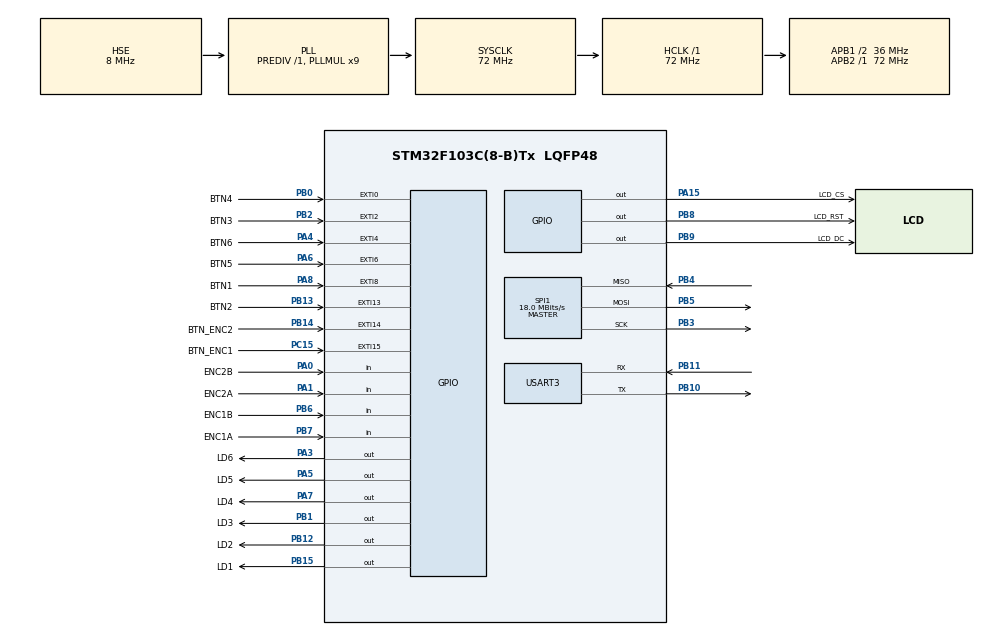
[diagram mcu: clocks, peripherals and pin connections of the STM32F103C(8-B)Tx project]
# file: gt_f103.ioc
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Dma.Request0=USART3_RX
Dma.USART3_RX.0.Direction=DMA_PERIPH_TO_MEMORY
Dma.USART3_RX.0.Instance=DMA1_Channel3
Dma.USART3_RX.0.MemDataAlignment=DMA_MDATAALIGN_BYTE
Dma.USART3_RX.0.MemInc=DMA_MINC_ENABLE
Dma.USART3_RX.0.Mode=DMA_CIRCULAR
Dma.USART3_RX.0.PeriphDataAlignment=DMA_PDATAALIGN_BYTE
Dma.USART3_RX.0.PeriphInc=DMA_PINC_DISABLE
Dma.USART3_RX.0.Priority=DMA_PRIORITY_LOW
Mcu.Family=STM32F1
Mcu.Name=STM32F103C(8-B)Tx
Mcu.Package=LQFP48
NVIC.DMA1_Channel3_IRQn=true\:0\:0\:false\:false\:true\:false\:true\:true
NVIC.EXTI0_IRQn=true\:0\:0\:false\:false\:true\:true\:true\:true
NVIC.EXTI15_10_IRQn=true\:0\:0\:false\:false\:true\:true\:true\:true
NVIC.EXTI2_IRQn=true\:0\:0\:false\:false\:true\:true\:true\:true
NVIC.EXTI4_IRQn=true\:0\:0\:false\:false\:true\:true\:true\:true
NVIC.EXTI9_5_IRQn=true\:0\:0\:false\:false\:true\:true\:true\:true
NVIC.PriorityGroup=NVIC_PRIORITYGROUP_4
NVIC.TIM2_IRQn=true\:0\:0\:false\:false\:true\:true\:true\:true
NVIC.TIM3_IRQn=true\:0\:0\:false\:false\:true\:true\:true\:true
PA0-WKUP.GPIO_Label=ENC2B
PA0-WKUP.Signal=GPIO_Input
PA1.GPIO_Label=ENC2A
PA1.Signal=GPIO_Input
PA13.Mode=Serial_Wire
PA13.Signal=SYS_JTMS-SWDIO
PA14.Mode=Serial_Wire
PA14.Signal=SYS_JTCK-SWCLK
PA15.GPIO_Label=LCD_CS
PA15.Signal=GPIO_Output
PA3.GPIO_Label=LD6
PA3.Signal=GPIO_Output
PA4.GPIO_Label=BTN6
PA4.GPIO_ModeDefaultEXTI=GPIO_MODE_IT_FALLING
PA4.Signal=GPXTI4
PA5.GPIO_Label=LD5
PA5.Signal=GPIO_Output
PA6.GPIO_Label=BTN5
PA6.GPIO_ModeDefaultEXTI=GPIO_MODE_IT_FALLING
PA6.Signal=GPXTI6
PA7.GPIO_Label=LD4
PA7.Signal=GPIO_Output
PA8.GPIO_Label=BTN1
PA8.GPIO_ModeDefaultEXTI=GPIO_MODE_IT_FALLING
PA8.Signal=GPXTI8
PB0.GPIO_Label=BTN4
PB0.GPIO_ModeDefaultEXTI=GPIO_MODE_IT_FALLING
PB0.Signal=GPXTI0
PB1.GPIO_Label=LD3
PB1.Signal=GPIO_Output
PB10.Mode=Asynchronous
PB10.Signal=USART3_TX
PB11.Mode=Asynchronous
PB11.Signal=USART3_RX
PB12.GPIO_Label=LD2
PB12.Signal=GPIO_Output
PB13.GPIO_Label=BTN2
PB13.GPIO_ModeDefaultEXTI=GPIO_MODE_IT_FALLING
PB13.Signal=GPXTI13
PB14.GPIO_Label=BTN_ENC2
PB14.GPIO_ModeDefaultEXTI=GPIO_MODE_IT_FALLING
PB14.Signal=GPXTI14
PB15.GPIO_Label=LD1
PB15.Signal=GPIO_Output
PB2.GPIO_Label=BTN3
PB2.GPIO_ModeDefaultEXTI=GPIO_MODE_IT_FALLING
PB2.Signal=GPXTI2
PB3.Mode=Full_Duplex_Master
PB3.Signal=SPI1_SCK
PB4.Mode=Full_Duplex_Master
PB4.Signal=SPI1_MISO
PB5.Mode=Full_Duplex_Master
PB5.Signal=SPI1_MOSI
PB6.GPIO_Label=ENC1B
PB6.Signal=GPIO_Input
PB7.GPIO_Label=ENC1A
PB7.Signal=GPIO_Input
PB8.GPIO_Label=LCD_RST
PB8.Signal=GPIO_Output
PB9.GPIO_Label=LCD_DC
PB9.Signal=GPIO_Output
PC15-OSC32_OUT.GPIO_Label=BTN_ENC1
PC15-OSC32_OUT.GPIO_ModeDefaultEXTI=GPIO_MODE_IT_FALLING
PC15-OSC32_OUT.Signal=GPXTI15
PD0-OSC_IN.Mode=HSE-External-Oscillator
PD0-OSC_IN.Signal=RCC_OSC_IN
PD1-OSC_OUT.Mode=HSE-External-Oscillator
PD1-OSC_OUT.Signal=RCC_OSC_OUT
ProjectManager.HeapSize=0x200
ProjectManager.StackSize=0x400
ProjectManager.TargetToolchain=STM32CubeIDE
RCC.AHBFreq_Value=72000000
RCC.APB1CLKDivider=RCC_HCLK_DIV2
RCC.APB1Freq_Value=36000000
RCC.APB1TimFreq_Value=72000000
RCC.APB2Freq_Value=72000000
RCC.APB2TimFreq_Value=72000000
RCC.HCLKFreq_Value=72000000
RCC.PLLMUL=RCC_PLL_MUL9
RCC.PLLSourceVirtual=RCC_PLLSOURCE_HSE
RCC.SYSCLKFreq_VALUE=72000000
RCC.SYSCLKSource=RCC_SYSCLKSOURCE_PLLCLK
RCC.USBFreq_Value=72000000
SPI1.BaudRatePrescaler=SPI_BAUDRATEPRESCALER_4
SPI1.CalculateBaudRate=18.0 MBits/s
SPI1.Direction=SPI_DIRECTION_2LINES
SPI1.Mode=SPI_MODE_MASTER
SPI1.VirtualType=VM_MASTER
TIM2.Period=10000-1
TIM2.Prescaler=72
TIM3.Period=10000-1
TIM3.Prescaler=72
USART3.VirtualMode=VM_ASYNC
VP_TIM2_VS_ClockSourceINT.Mode=Internal
VP_TIM3_VS_ClockSourceINT.Mode=Internal
board=custom

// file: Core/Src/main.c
/* USER CODE BEGIN Header */
/**
 ******************************************************************************
 * @file           : main.c
 * @brief          : Main program body
 ******************************************************************************
 * @attention
 *
 * Copyright (c) 2022 STMicroelectronics.
 * All rights reserved.
 *
 * This software is licensed under terms that can be found in the LICENSE file
 * in the root directory of this software component.
 * If no LICENSE file comes with this software, it is provided AS-IS.
 *
 ******************************************************************************
 */
/* USER CODE END Header */
#include "main.h"

/* USER CODE BEGIN Includes */
#include "ili9341.h"
#include "commander.h"
#include "lcd_painter.h"
#include "rencoder.h"
#include "menu.h"
#include <string.h>
#include <stdio.h>
#include <math.h>

/* USER CODE END Includes */

/* USER CODE BEGIN PM */

#define MIN(X, Y)  ((X) < (Y) ? (X) : (Y))
#define MAX(X, Y)  ((X) > (Y) ? (X) : (Y))

/* USER CODE END PM */

SPI_HandleTypeDef hspi1;

TIM_HandleTypeDef htim2;
TIM_HandleTypeDef htim3;

UART_HandleTypeDef huart3;
DMA_HandleTypeDef hdma_usart3_rx;

/* USER CODE BEGIN PV */

Commander_HandleTypeDef hcommander;

Menu_Data menu_data;

uint16_t btn_pins[8] = { BTN1_Pin, BTN2_Pin, BTN3_Pin, BTN4_Pin, BTN5_Pin, BTN6_Pin, BTN_ENC1_Pin, BTN_ENC2_Pin };
GPIO_TypeDef * btn_ports[8] = { BTN1_GPIO_Port, BTN2_GPIO_Port, BTN3_GPIO_Port, BTN4_GPIO_Port, BTN5_GPIO_Port, BTN6_GPIO_Port, BTN_ENC1_GPIO_Port, BTN_ENC2_GPIO_Port };
uint8_t btn_flags[8] = {0, 0, 0, 0, 0, 0, 0, 0};

uint16_t led_pins[6] = { LD1_Pin, LD2_Pin, LD3_Pin, LD4_Pin, LD5_Pin, LD6_Pin };
GPIO_TypeDef * led_ports[6] = { LD1_GPIO_Port, LD2_GPIO_Port, LD3_GPIO_Port, LD4_GPIO_Port, LD5_GPIO_Port, LD6_GPIO_Port };

RE_HandleTypeDef hre1;
RE_HandleTypeDef hre2;

#define EPD_WAIT 3000

/* USER CODE END PV */

void SystemClock_Config(void);
static void MX_GPIO_Init(void);
static void MX_DMA_Init(void);
static void MX_USART3_UART_Init(void);
static void MX_SPI1_Init(void);
static void MX_TIM3_Init(void);
static void MX_TIM2_Init(void);

/* USER CODE BEGIN 0 */

void HAL_GPIO_EXTI_Callback(uint16_t GPIO_Pin)
{
	HAL_TIM_Base_Start_IT(&htim2);
	//for (uint8_t i = 0; i < 8; i++) {
	//	if(btn_pins[i] == GPIO_Pin) {
	//		btn_flags[i] = 1;
	//	}
	//}
}

void HAL_TIM_PeriodElapsedCallback(TIM_HandleTypeDef *htim)
{
	if (htim == &htim2) {

		for (uint8_t i = 0; i < 8; i++) {
			if(HAL_GPIO_ReadPin(btn_ports[i], btn_pins[i]) == GPIO_PIN_RESET) {
				btn_flags[i] = 1;
			}
		}
		HAL_TIM_Base_Stop_IT(&htim2);

	} else if (htim == &htim3) {

		RE_Process(&hre1);
		RE_Process(&hre2);
	}
}

void HAL_UART_RxHalfCpltCallback(UART_HandleTypeDef *huart)
{
	UNUSED(huart);
	memcpy(&(hcommander.in_command), hcommander.uart_rx_buffer, COMMAND_BYTESIZE);
	hcommander.awaiting_response = 0;
}

void HAL_UART_RxCpltCallback(UART_HandleTypeDef *huart)
{
	UNUSED(huart);
	memcpy(&(hcommander.in_command), hcommander.uart_rx_buffer + COMMAND_BYTESIZE, COMMAND_BYTESIZE);
	hcommander.awaiting_response = 0;
}

void command_callback() {
	// do nothing, F103 is not supposed to answer
	for (uint8_t i = 0; i < 6; i++)
	HAL_GPIO_WritePin(led_ports[i], led_pins[i], GPIO_PIN_SET);
	HAL_Delay(500);
}

/* USER CODE END 0 */

int main(void)
{

  /* MCU Configuration--------------------------------------------------------*/

  /* Reset of all peripherals, Initializes the Flash interface and the Systick. */
  HAL_Init();

  /* Configure the system clock */
  SystemClock_Config();

  /* Initialize all configured peripherals */
  MX_GPIO_Init();
  MX_DMA_Init();
  MX_USART3_UART_Init();
  MX_SPI1_Init();
  MX_TIM3_Init();
  MX_TIM2_Init();
  /* USER CODE BEGIN 2 */

	// Turning on all LEDs
	for (uint8_t i = 0; i < 6; i++)
		HAL_GPIO_WritePin(led_ports[i], led_pins[i], GPIO_PIN_SET);

	// Commander
	Commander_Init(&hcommander, &huart3, &hdma_usart3_rx, command_callback);
	Commander_Start(&hcommander);

	// Rotary encoders
	RE_Init(&hre1, ENC1A_GPIO_Port, ENC1B_GPIO_Port, ENC1A_Pin, ENC1B_Pin);
	RE_Init(&hre2, ENC2A_GPIO_Port, ENC2B_GPIO_Port, ENC2A_Pin, ENC2B_Pin);
	HAL_TIM_Base_Start_IT(&htim3);

	// Display and splash screen

	ILI9341_Init(&hspi1, LCD_CS_GPIO_Port, LCD_CS_Pin, LCD_DC_GPIO_Port, LCD_DC_Pin, LCD_RST_GPIO_Port, LCD_RST_Pin);
	ILI9341_setRotation(4);
	ILI9341_Fill(COLOR_WHITE);

	LCD_Painter_DrawText("G33KY TOAD", (320 - 10 * 12) / 2, 48, COLOR_BLACK, COLOR_WHITE, LARGE);
	LCD_Painter_DrawText("@", (320 - 1 * 18) / 2, 78, COLOR_BLACK, COLOR_WHITE, LARGE);
	LCD_Painter_DrawText("BY GIACOMO ASCARI", (320 - 17 * 10) / 2, 108, COLOR_BLACK, COLOR_WHITE, MEDIUM);
	LCD_Painter_DrawText("AND EVGENY DEMENEV", (320 - 18 * 10) / 2, 124, COLOR_BLACK, COLOR_WHITE, MEDIUM);

	// Now ready
	HAL_Delay(1000);
	//LCD_Painter_EraseText(40, 0, 48, COLOR_WHITE, LARGE);
	//LCD_Painter_EraseText(40, 0, 78, COLOR_WHITE, LARGE);
	//LCD_Painter_EraseText(40, 0, 108, COLOR_WHITE, MEDIUM);
	//LCD_Painter_EraseText(40, 0, 124, COLOR_WHITE, MEDIUM);

	// Menu
	enum Menu_PageType new_page;
	Menu_Init(&menu_data, &hcommander);
	Menu_Sync(&menu_data, GET_PB);
	Menu_Sync(&menu_data, GET_LINES);
	Menu_Sync(&menu_data, GET_DRUMS);

	//Menu_Sync(&menu_data, GET_LOAD);

	Menu_GoTo(&menu_data, OVERVIEW, 1);
	Menu_Render(&menu_data);

	// Turning off
		for (uint8_t i = 0; i < 6; i++)
			HAL_GPIO_WritePin(led_ports[i], led_pins[i], GPIO_PIN_RESET);

  /* USER CODE END 2 */

  /* Infinite loop */
	while (1)
	{

    /* USER CODE BEGIN 3 */

		// assume new_page will be the same as the current one
		new_page = menu_data.page;
		// change in case the buttons did the thing
		for (uint8_t i = 0; i < 6; i++) {
			if (btn_flags[i]) {
				btn_flags[i] = 0;
				new_page = i;
			}
		}

		// change page
		if (Menu_GoTo(&menu_data, new_page, 0)) {
			// if page did change, reset interface
			RE_Reset(&hre1);
			RE_Reset(&hre2);
			btn_flags[6] = 0;
			btn_flags[7] = 0;
			// PAGE CHANGE EVENT (one time)
			if (menu_data.page == OVERVIEW) {
				Menu_Sync(&menu_data, GET_PB);
				Menu_Sync(&menu_data, GET_LINES);
				Menu_Sync(&menu_data, GET_DRUMS);
			} else if (menu_data.page == PLOT) {
				// nothin'
			} else if (menu_data.page == PEDALS) {
				Menu_Sync(&menu_data, GET_PB);
			} else if (menu_data.page == LINES) {
				Menu_Sync(&menu_data, GET_LINES);
			} else if (menu_data.page == DRUMS) {
				Menu_Sync(&menu_data, GET_DRUMS);
			} else if (menu_data.page == FILES) {
				Menu_Sync(&menu_data, GET_FLASH);
			}
		}

		// activate led corresponding to the page
		for (uint8_t i = 0; i < 6; i++)  {
			HAL_GPIO_WritePin(led_ports[i], led_pins[i], i == menu_data.page ? GPIO_PIN_SET : GPIO_PIN_RESET);
		}

		if (RE_ChangeFromLastChange(&hre1)) menu_data.cursor1_changed = 1;
		if (RE_ChangeFromLastChange(&hre2)) menu_data.cursor2_changed = 1;

		// MENU PERIODIC AND USER EVENTS
		if (menu_data.page == OVERVIEW) {

			// periodic event
			if (HAL_GetTick() > menu_data.tick + sync_interval[OVERVIEW]) {
				menu_data.tick = HAL_GetTick();
				Menu_Sync(&menu_data, GET_LOAD);
			}

		} else if (menu_data.page == PLOT) {

			// user events
			menu_data.plot_data.xscale = RE_GetCount(&hre1, 100) + 1;
			menu_data.plot_data.yscale = RE_GetCount(&hre2, 100) + 1;

			// periodic
			if (HAL_GetTick() > menu_data.tick + sync_interval[PLOT]) {
				menu_data.tick = HAL_GetTick();
				Menu_Sync(&menu_data, GET_SIGNALS);
			}

		} else if (menu_data.page == PEDALS) {

			// user event (to and from edit mode)
			if (btn_flags[6]) {
				// if low btn pressed
				btn_flags[6] = 0;
				btn_flags[7] = 0;
				if (!menu_data.pedals_data.active) {
					// going to edit mode
					menu_data.pedals_data.active = 1;
					menu_data.pedals_data.oldvalue1 = hre1.counter;
					menu_data.pedals_data.oldvalue2 = hre2.counter;
					menu_data.pedals_data.initialvalue1 = hre1.counter;
					menu_data.pedals_data.initialvalue2 = hre2.counter;
					menu_data.cursor1_changed = 1;
					menu_data.cursor2_changed = 1;
				} else {
					// exiting edit mode
					menu_data.pedals_data.active = 0;
					hre1.counter = menu_data.pedals_data.initialvalue1;
					hre2.counter = menu_data.pedals_data.initialvalue2;
					Menu_Sync(&menu_data, SET_PB);
					menu_data.cursor1_changed = 1;
					menu_data.cursor2_changed = 1;
				}
			}

			// user event (if edit mode is active)
			if (menu_data.pedals_data.active) {
				// if edit is active
				uint8_t type = menu_data.pedalboard.effects[menu_data.pedals_data.index2].type;
				uint8_t index, _int;
				Pedalboard_GetActiveParamsByType(menu_data.pedals_data.index1, type, &_int, &index);
				effect_config_t *conf = &(menu_data.pedalboard.effects[menu_data.pedals_data.index2].config);
				if (_int) {
					const int_params_manifest_t *manifest = &(Effects_Manifest[type].int_params_manifest[index]);
					Menu_UpdateIntValue(
							&conf->int_params[index], manifest->min, manifest->max, manifest->micro_step, manifest->macro_step,
							hre1.counter, &menu_data.pedals_data.oldvalue1, hre2.counter, &menu_data.pedals_data.oldvalue2
					);
				} else {
					const float_params_manifest_t *manifest = &(Effects_Manifest[type].float_params_manifest[index]);
					Menu_UpdateFloatValue(
							&conf->float_params[index], manifest->min, manifest->max, manifest->micro_step, manifest->macro_step,
							hre1.counter, &menu_data.pedals_data.oldvalue1, hre2.counter, &menu_data.pedals_data.oldvalue2
					);
				}
			} else {
				// update indexes
				menu_data.pedals_data.index1 = RE_GetCount(&hre1, Pedalboard_CountActiveParamsByType(menu_data.pedalboard.effects[menu_data.pedals_data.index2].type));
				menu_data.pedals_data.index2 = RE_GetCount(&hre2, EFFECT_SLOTS_COUNT);
				if (btn_flags[7]) {
					// go to next effect
					btn_flags[7] = 0;
					Pedalboard_SetEffect(
							&(menu_data.pedalboard),
							(menu_data.pedalboard.effects[menu_data.pedals_data.index2].type + 1) % EFFECT_TYPES,
							menu_data.pedals_data.index2);
					Menu_Sync(&menu_data, SET_PB);
				}
			}

		} else if (menu_data.page == LINES) {

			// user event
			menu_data.lines_data.input_selected = RE_GetCount(&hre1, INPUT_LINE_TYPES);
			menu_data.lines_data.output_selected = RE_GetCount(&hre2, OUTPUT_LINE_TYPES);
			if (btn_flags[6]) {
				btn_flags[6] = 0;
				menu_data.lines_conf.input_line = menu_data.lines_data.input_selected;
				Menu_Sync(&menu_data, SET_LINES);
			}
			if (btn_flags[7]) {
				btn_flags[7] = 0;
				menu_data.lines_conf.output_line = menu_data.lines_data.output_selected;
				Menu_Sync(&menu_data, SET_LINES);
			}

		} else if (menu_data.page == DRUMS) {

			// user event (to and from edit mode)
			if (btn_flags[6]) {
				// if low btn pressed
				btn_flags[6] = 0;
				btn_flags[7] = 0;
				if (!menu_data.drums_data.active) {
					// going to edit mode
					menu_data.drums_data.active = 1;
					menu_data.drums_data.oldvalue1 = hre1.counter;
					menu_data.drums_data.oldvalue2 = hre2.counter;
					menu_data.drums_data.initialvalue1 = hre1.counter;
					menu_data.drums_data.initialvalue2 = hre2.counter;
					menu_data.cursor1_changed = 1;
					menu_data.cursor2_changed = 1;
				} else {
					// exiting edit mode
					menu_data.drums_data.active = 0;
					hre1.counter = menu_data.drums_data.initialvalue1;
					hre2.counter = menu_data.drums_data.initialvalue2;
					Menu_Sync(&menu_data, SET_DRUMS);
					menu_data.cursor1_changed = 1;
					menu_data.cursor2_changed = 1;
				}
			}
			// user event 2
			if (btn_flags[7]) {
				btn_flags[7] = 0;
				if (!menu_data.drums_data.active) {
					if (menu_data.drums_data.index2 == 0) {
						menu_data.drums_conf.active = 0;
					} else {
						menu_data.drums_conf.active = 1;
					}
					Menu_Sync(&menu_data, SET_DRUMS);
				}
			}

			// user event (if edit mode is active)
			if (menu_data.drums_data.active) {
				// if edit is active
				uint8_t index, _int;
				Drums_GetParamsByType(menu_data.drums_data.index1, &_int, &index);
				drum_conf_t *conf = &menu_data.drums_conf;
				if (_int) {
					const drum_int_params_manifest_t *manifest = &(drum_params_manifest.int_params_manifest[index]);
					Menu_UpdateIntValue(
							&conf->int_params[index], manifest->min, manifest->max, manifest->micro_step, manifest->macro_step,
							hre1.counter, &menu_data.drums_data.oldvalue1, hre2.counter, &menu_data.drums_data.oldvalue2
					);
				} else {
					const drum_float_params_manifest_t *manifest = &(drum_params_manifest.float_params_manifest[index]);
					Menu_UpdateFloatValue(
							&conf->float_params[index], manifest->min, manifest->max, manifest->micro_step, manifest->macro_step,
							hre1.counter, &menu_data.drums_data.oldvalue1, hre2.counter, &menu_data.drums_data.oldvalue2
					);
				}
			} else {
				// update indexes
				menu_data.drums_data.index1 = RE_GetCount(&hre1, DRUMS_PARAMS_COUNT);

				menu_data.drums_data.index2 = RE_GetCount(&hre2, 2);
			}

		} else if (menu_data.page == FILES) {

			// user event
			menu_data.files_data.slot_selected = RE_GetCount(&hre1, menu_data.files_data.save_slots);
			menu_data.files_data.action_selected = RE_GetCount(&hre2, 3);
			if (btn_flags[7]) {
				btn_flags[7] = 0;
				if (menu_data.files_data.action_selected == 0) {
					Menu_Sync(&menu_data, SAVE_FLASH);
				} else if (menu_data.files_data.action_selected == 1) {
					Menu_Sync(&menu_data, LOAD_FLASH);
				} else if (menu_data.files_data.action_selected == 2) {
					Menu_Sync(&menu_data, DEL_FLASH);
				}
				Menu_Sync(&menu_data, GET_FLASH);
			}
		}

		Menu_Render(&menu_data);

	}
  /* USER CODE END 3 */
}

void SystemClock_Config(void)
{
  RCC_OscInitTypeDef RCC_OscInitStruct = {0};
  RCC_ClkInitTypeDef RCC_ClkInitStruct = {0};

  /** Initializes the RCC Oscillators according to the specified parameters
  * in the RCC_OscInitTypeDef structure.
  */
  RCC_OscInitStruct.OscillatorType = RCC_OSCILLATORTYPE_HSE;
  RCC_OscInitStruct.HSEState = RCC_HSE_ON;
  RCC_OscInitStruct.HSEPredivValue = RCC_HSE_PREDIV_DIV1;
  RCC_OscInitStruct.HSIState = RCC_HSI_ON;
  RCC_OscInitStruct.PLL.PLLState = RCC_PLL_ON;
  RCC_OscInitStruct.PLL.PLLSource = RCC_PLLSOURCE_HSE;
  RCC_OscInitStruct.PLL.PLLMUL = RCC_PLL_MUL9;
  if (HAL_RCC_OscConfig(&RCC_OscInitStruct) != HAL_OK)
  {
    Error_Handler();
  }

  /** Initializes the CPU, AHB and APB buses clocks
  */
  RCC_ClkInitStruct.ClockType = RCC_CLOCKTYPE_HCLK|RCC_CLOCKTYPE_SYSCLK
                              |RCC_CLOCKTYPE_PCLK1|RCC_CLOCKTYPE_PCLK2;
  RCC_ClkInitStruct.SYSCLKSource = RCC_SYSCLKSOURCE_PLLCLK;
  RCC_ClkInitStruct.AHBCLKDivider = RCC_SYSCLK_DIV1;
  RCC_ClkInitStruct.APB1CLKDivider = RCC_HCLK_DIV2;
  RCC_ClkInitStruct.APB2CLKDivider = RCC_HCLK_DIV1;

  if (HAL_RCC_ClockConfig(&RCC_ClkInitStruct, FLASH_LATENCY_2) != HAL_OK)
  {
    Error_Handler();
  }
}

static void MX_SPI1_Init(void)
{

  /* SPI1 parameter configuration*/
  hspi1.Instance = SPI1;
  hspi1.Init.Mode = SPI_MODE_MASTER;
  hspi1.Init.Direction = SPI_DIRECTION_2LINES;
  hspi1.Init.DataSize = SPI_DATASIZE_8BIT;
  hspi1.Init.CLKPolarity = SPI_POLARITY_LOW;
  hspi1.Init.CLKPhase = SPI_PHASE_1EDGE;
  hspi1.Init.NSS = SPI_NSS_SOFT;
  hspi1.Init.BaudRatePrescaler = SPI_BAUDRATEPRESCALER_4;
  hspi1.Init.FirstBit = SPI_FIRSTBIT_MSB;
  hspi1.Init.TIMode = SPI_TIMODE_DISABLE;
  hspi1.Init.CRCCalculation = SPI_CRCCALCULATION_DISABLE;
  hspi1.Init.CRCPolynomial = 10;
  if (HAL_SPI_Init(&hspi1) != HAL_OK)
  {
    Error_Handler();
  }

}

static void MX_TIM2_Init(void)
{

  TIM_ClockConfigTypeDef sClockSourceConfig = {0};
  TIM_MasterConfigTypeDef sMasterConfig = {0};

  htim2.Instance = TIM2;
  htim2.Init.Prescaler = 72;
  htim2.Init.CounterMode = TIM_COUNTERMODE_UP;
  htim2.Init.Period = 10000-1;
  htim2.Init.ClockDivision = TIM_CLOCKDIVISION_DIV1;
  htim2.Init.AutoReloadPreload = TIM_AUTORELOAD_PRELOAD_DISABLE;
  if (HAL_TIM_Base_Init(&htim2) != HAL_OK)
  {
    Error_Handler();
  }
  sClockSourceConfig.ClockSource = TIM_CLOCKSOURCE_INTERNAL;
  if (HAL_TIM_ConfigClockSource(&htim2, &sClockSourceConfig) != HAL_OK)
  {
    Error_Handler();
  }
  sMasterConfig.MasterOutputTrigger = TIM_TRGO_RESET;
  sMasterConfig.MasterSlaveMode = TIM_MASTERSLAVEMODE_DISABLE;
  if (HAL_TIMEx_MasterConfigSynchronization(&htim2, &sMasterConfig) != HAL_OK)
  {
    Error_Handler();
  }

}

static void MX_TIM3_Init(void)
{

  TIM_ClockConfigTypeDef sClockSourceConfig = {0};
  TIM_MasterConfigTypeDef sMasterConfig = {0};

  htim3.Instance = TIM3;
  htim3.Init.Prescaler = 72;
  htim3.Init.CounterMode = TIM_COUNTERMODE_UP;
  htim3.Init.Period = 10000-1;
  htim3.Init.ClockDivision = TIM_CLOCKDIVISION_DIV1;
  htim3.Init.AutoReloadPreload = TIM_AUTORELOAD_PRELOAD_DISABLE;
  if (HAL_TIM_Base_Init(&htim3) != HAL_OK)
  {
    Error_Handler();
  }
  sClockSourceConfig.ClockSource = TIM_CLOCKSOURCE_INTERNAL;
  if (HAL_TIM_ConfigClockSource(&htim3, &sClockSourceConfig) != HAL_OK)
  {
    Error_Handler();
  }
  sMasterConfig.MasterOutputTrigger = TIM_TRGO_RESET;
  sMasterConfig.MasterSlaveMode = TIM_MASTERSLAVEMODE_DISABLE;
  if (HAL_TIMEx_MasterConfigSynchronization(&htim3, &sMasterConfig) != HAL_OK)
  {
    Error_Handler();
  }

}

static void MX_USART3_UART_Init(void)
{

  huart3.Instance = USART3;
  huart3.Init.BaudRate = 115200;
  huart3.Init.WordLength = UART_WORDLENGTH_8B;
  huart3.Init.StopBits = UART_STOPBITS_1;
  huart3.Init.Parity = UART_PARITY_NONE;
  huart3.Init.Mode = UART_MODE_TX_RX;
  huart3.Init.HwFlowCtl = UART_HWCONTROL_NONE;
  huart3.Init.OverSampling = UART_OVERSAMPLING_16;
  if (HAL_UART_Init(&huart3) != HAL_OK)
  {
    Error_Handler();
  }

}

static void MX_DMA_Init(void)
{

  /* DMA controller clock enable */
  __HAL_RCC_DMA1_CLK_ENABLE();

  /* DMA interrupt init */
  /* DMA1_Channel3_IRQn interrupt configuration */
  HAL_NVIC_SetPriority(DMA1_Channel3_IRQn, 0, 0);
  HAL_NVIC_EnableIRQ(DMA1_Channel3_IRQn);

}

static void MX_GPIO_Init(void)
{
  GPIO_InitTypeDef GPIO_InitStruct = {0};

  /* GPIO Ports Clock Enable */
  __HAL_RCC_GPIOC_CLK_ENABLE();
  __HAL_RCC_GPIOD_CLK_ENABLE();
  __HAL_RCC_GPIOA_CLK_ENABLE();
  __HAL_RCC_GPIOB_CLK_ENABLE();

  /*Configure GPIO pin Output Level */
  HAL_GPIO_WritePin(GPIOA, LD6_Pin|LD5_Pin|LD4_Pin|LCD_CS_Pin, GPIO_PIN_RESET);

  /*Configure GPIO pin Output Level */
  HAL_GPIO_WritePin(GPIOB, LD3_Pin|LD2_Pin|LD1_Pin|LCD_RST_Pin
                          |LCD_DC_Pin, GPIO_PIN_RESET);

  /*Configure GPIO pin : BTN_ENC1_Pin */
  GPIO_InitStruct.Pin = BTN_ENC1_Pin;
  GPIO_InitStruct.Mode = GPIO_MODE_IT_FALLING;
  GPIO_InitStruct.Pull = GPIO_NOPULL;
  HAL_GPIO_Init(BTN_ENC1_GPIO_Port, &GPIO_InitStruct);

  /*Configure GPIO pins : ENC2B_Pin ENC2A_Pin */
  GPIO_InitStruct.Pin = ENC2B_Pin|ENC2A_Pin;
  GPIO_InitStruct.Mode = GPIO_MODE_INPUT;
  GPIO_InitStruct.Pull = GPIO_NOPULL;
  HAL_GPIO_Init(GPIOA, &GPIO_InitStruct);

  /*Configure GPIO pins : LD6_Pin LD5_Pin LD4_Pin LCD_CS_Pin */
  GPIO_InitStruct.Pin = LD6_Pin|LD5_Pin|LD4_Pin|LCD_CS_Pin;
  GPIO_InitStruct.Mode = GPIO_MODE_OUTPUT_PP;
  GPIO_InitStruct.Pull = GPIO_NOPULL;
  GPIO_InitStruct.Speed = GPIO_SPEED_FREQ_LOW;
  HAL_GPIO_Init(GPIOA, &GPIO_InitStruct);

  /*Configure GPIO pins : BTN6_Pin BTN5_Pin BTN1_Pin */
  GPIO_InitStruct.Pin = BTN6_Pin|BTN5_Pin|BTN1_Pin;
  GPIO_InitStruct.Mode = GPIO_MODE_IT_FALLING;
  GPIO_InitStruct.Pull = GPIO_NOPULL;
  HAL_GPIO_Init(GPIOA, &GPIO_InitStruct);

  /*Configure GPIO pins : BTN4_Pin BTN3_Pin BTN2_Pin BTN_ENC2_Pin */
  GPIO_InitStruct.Pin = BTN4_Pin|BTN3_Pin|BTN2_Pin|BTN_ENC2_Pin;
  GPIO_InitStruct.Mode = GPIO_MODE_IT_FALLING;
  GPIO_InitStruct.Pull = GPIO_NOPULL;
  HAL_GPIO_Init(GPIOB, &GPIO_InitStruct);

  /*Configure GPIO pins : LD3_Pin LD2_Pin LD1_Pin LCD_RST_Pin
                           LCD_DC_Pin */
  GPIO_InitStruct.Pin = LD3_Pin|LD2_Pin|LD1_Pin|LCD_RST_Pin
                          |LCD_DC_Pin;
  GPIO_InitStruct.Mode = GPIO_MODE_OUTPUT_PP;
  GPIO_InitStruct.Pull = GPIO_NOPULL;
  GPIO_InitStruct.Speed = GPIO_SPEED_FREQ_LOW;
  HAL_GPIO_Init(GPIOB, &GPIO_InitStruct);

  /*Configure GPIO pins : ENC1B_Pin ENC1A_Pin */
  GPIO_InitStruct.Pin = ENC1B_Pin|ENC1A_Pin;
  GPIO_InitStruct.Mode = GPIO_MODE_INPUT;
  GPIO_InitStruct.Pull = GPIO_NOPULL;
  HAL_GPIO_Init(GPIOB, &GPIO_InitStruct);

  /* EXTI interrupt init*/
  HAL_NVIC_SetPriority(EXTI0_IRQn, 0, 0);
  HAL_NVIC_EnableIRQ(EXTI0_IRQn);

  HAL_NVIC_SetPriority(EXTI2_IRQn, 0, 0);
  HAL_NVIC_EnableIRQ(EXTI2_IRQn);

  HAL_NVIC_SetPriority(EXTI4_IRQn, 0, 0);
  HAL_NVIC_EnableIRQ(EXTI4_IRQn);

  HAL_NVIC_SetPriority(EXTI9_5_IRQn, 0, 0);
  HAL_NVIC_EnableIRQ(EXTI9_5_IRQn);

  HAL_NVIC_SetPriority(EXTI15_10_IRQn, 0, 0);
  HAL_NVIC_EnableIRQ(EXTI15_10_IRQn);

}

void Error_Handler(void)
{
	__disable_irq();
	while (1)
	{
	}
}
